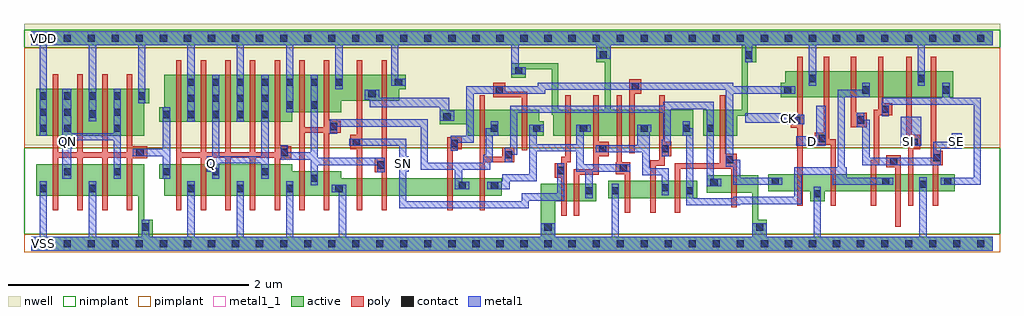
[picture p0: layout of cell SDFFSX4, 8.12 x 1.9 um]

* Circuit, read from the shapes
.subckt SDFFSX4 CK D Q QN SE SI SN VDD VSS
M1 QN n1 VSS VSS nfet w=0.26u l=0.045u m=4
M2 VSS n2 n1 VSS nfet w=0.26u l=0.045u
M3 Q n2 VSS VSS nfet w=0.26u l=0.045u m=4
M4 n2 n3 VSS VSS nfet w=0.205u l=0.045u m=2
M5 n4 SN VSS VSS nfet w=0.145u l=0.045u
M6 n5 n2 n4 VSS nfet w=0.145u l=0.045u
M7 n3 n6 n5 VSS nfet w=0.145u l=0.045u
M8 n7 n8 n3 VSS nfet w=0.145u l=0.045u
M9 n9 SN VSS VSS nfet w=0.145u l=0.045u
M10 n7 n10 n9 VSS nfet w=0.145u l=0.045u
M11 n11 n7 VSS VSS nfet w=0.145u l=0.045u
M12 n10 n8 n11 VSS nfet w=0.145u l=0.045u
M13 n12 n6 n10 VSS nfet w=0.145u l=0.045u
M14 VSS n6 n8 VSS nfet w=0.145u l=0.045u
M15 VSS CK n6 VSS nfet w=0.145u l=0.045u
M16 n13 D VSS VSS nfet w=0.145u l=0.045u
M17 n12 n14 n13 VSS nfet w=0.145u l=0.045u
M18 n15 SE n12 VSS nfet w=0.145u l=0.045u
M19 VSS SI n15 VSS nfet w=0.145u l=0.045u
M20 n14 SE VSS VSS nfet w=0.145u l=0.045u
M21 QN n1 VDD VDD pfet w=0.39u l=0.045u m=4
M22 VDD n2 n1 VDD pfet w=0.39u l=0.045u
M23 Q n2 VDD VDD pfet w=0.39u l=0.045u m=4
M24 n2 n3 VDD VDD pfet w=0.31u l=0.045u m=2
M25 n16 SN VDD VDD pfet w=0.215u l=0.045u
M26 VDD n2 n16 VDD pfet w=0.215u l=0.045u
M27 n3 n8 n16 VDD pfet w=0.215u l=0.045u
M28 n7 n6 n3 VDD pfet w=0.215u l=0.045u
M29 n7 SN VDD VDD pfet w=0.215u l=0.045u
M30 VDD n10 n7 VDD pfet w=0.215u l=0.045u
M31 n17 n7 VDD VDD pfet w=0.215u l=0.045u
M32 n10 n6 n17 VDD pfet w=0.215u l=0.045u
M33 n12 n8 n10 VDD pfet w=0.215u l=0.045u
M34 VDD n6 n8 VDD pfet w=0.215u l=0.045u
M35 VDD CK n6 VDD pfet w=0.215u l=0.045u
M36 n18 D VDD VDD pfet w=0.215u l=0.045u
M37 n12 SE n18 VDD pfet w=0.215u l=0.045u
M38 n19 n14 n12 VDD pfet w=0.215u l=0.045u
M39 VDD SI n19 VDD pfet w=0.215u l=0.045u
M40 n14 SE VDD VDD pfet w=0.215u l=0.045u
.ends

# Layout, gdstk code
import gdstk
lib = gdstk.Library(unit=1e-6, precision=5e-10)
def R(c, l, rs):  # rectangles x0, y0, x1, y1
    for r in rs: c.add(gdstk.rectangle(r[:2], r[2:], *l))
def A(c, l, x, y, w, h, nx, ny, dx, dy):  # array of equal rectangles
    R(c, l, [(x+i*dx, y+j*dy, x+i*dx+w, y+j*dy+h) for i in range(nx) for j in range(ny)])
def P(c, l, *ps):  # polygons
    for p in ps: c.add(gdstk.Polygon(p, *l))
active = (1, 0)
nwell = (2, 0)
poly = (3, 0)
nimplant = (4, 0)
pimplant = (5, 0)
contact = (6, 0)
metal1 = (7, 0)
metal1_1 = (7, 1)

sdffsx4 = lib.new_cell('SDFFSX4')
R(sdffsx4, active, [(4.8,0.38,5.54,0.525)])
P(sdffsx4, active, [(0,1.77),(8,1.77),(8,1.65),(6.03,1.65),(6.03,1.51),(5.96,1.51),(5.96,1.065),(5.875,1.065),(5.875,0.9),(5.59,0.9),(5.59,1.115),(5.91,1.115),(5.91,1.65),(4.82,1.65),(4.82,1.115),(5.51,1.115),(5.51,0.9),(4.345,0.9),(4.345,1.075),(4.33,1.075),(4.33,1.45),(4.115,1.45),(4.115,1.38),(3.995,1.38),(3.995,1.5),(4.385,1.5),(4.385,1.115),(4.77,1.115),(4.77,1.51),(4.7,1.51),(4.7,1.65),(0,1.65)],
  [(0.04,1.29),(0.98,1.29),(0.98,1.17),(0.94,1.17),(0.94,0.9),(0.04,0.9)],
  [(1.105,1.405),(3.115,1.405),(3.115,1.285),(3.06,1.285),(3.06,1.19),(2.58,1.19),(2.58,1.095),(2.17,1.095),(2.17,1.015),(1.065,1.015),(1.065,1.135),(1.105,1.135)],
  [(3.4,1.115),(4.225,1.115),(4.225,1.02),(4.265,1.02),(4.265,0.9),(3.63,0.9),(3.63,0.995),(3.4,0.995)],
  [(6.275,1.435),(7.67,1.435),(7.67,1.22),(6.235,1.22),(6.235,1.34),(6.275,1.34)],
  [(1.065,0.66),(2.17,0.66),(2.17,0.605),(2.58,0.605),(2.58,0.545),(3.915,0.545),(3.915,0.4),(1.105,0.4),(1.105,0.54),(1.065,0.54)],
  [(0.04,0.66),(0.94,0.66),(0.94,0.2),(1.01,0.2),(1.01,0.06),(4.24,0.06),(4.24,0.5),(4.7,0.5),(4.7,0.355),(4.36,0.355),(4.36,0.06),(6,0.06),(6,0.425),(5.62,0.425),(5.62,0.57),(6.05,0.57),(6.05,0.2),(6.12,0.2),(6.12,0.06),(8,0.06),(8,-0.06),(0,-0.06),(0,0.06),(0.89,0.06),(0.89,0.4),(0.04,0.4)],
  [(6.13,0.58),(7.685,0.58),(7.685,0.435),(6.6,0.435),(6.6,0.355),(6.48,0.355),(6.48,0.435),(6.13,0.435)])
R(sdffsx4, nwell, [(-0.06,0.82,8.06,1.83)])
P(sdffsx4, poly, [(0.18,1.41),(0.225,1.41),(0.225,0.76),(0.385,0.76),(0.385,1.41),(0.43,1.41),(0.43,0.76),(0.59,0.76),(0.59,1.41),(0.635,1.41),(0.635,0.76),(0.795,0.76),(0.795,1.41),(0.84,1.41),(0.84,0.81),(0.965,0.81),(0.965,0.71),(0.84,0.71),(0.84,0.28),(0.795,0.28),(0.795,0.715),(0.635,0.715),(0.635,0.28),(0.59,0.28),(0.59,0.715),(0.43,0.715),(0.43,0.28),(0.385,0.28),(0.385,0.715),(0.225,0.715),(0.225,0.28),(0.18,0.28)],
  [(1.205,1.525),(1.25,1.525),(1.25,0.76),(1.41,0.76),(1.41,1.525),(1.455,1.525),(1.455,0.76),(1.615,0.76),(1.615,1.525),(1.66,1.525),(1.66,0.76),(1.82,0.76),(1.82,1.525),(1.865,1.525),(1.865,0.76),(2.025,0.76),(2.025,1.525),(2.07,1.525),(2.07,0.81),(2.165,0.81),(2.165,0.71),(2.07,0.71),(2.07,0.28),(2.025,0.28),(2.025,0.715),(1.865,0.715),(1.865,0.28),(1.82,0.28),(1.82,0.715),(1.66,0.715),(1.66,0.28),(1.615,0.28),(1.615,0.715),(1.455,0.715),(1.455,0.28),(1.41,0.28),(1.41,0.715),(1.25,0.715),(1.25,0.28),(1.205,0.28)],
  [(2.23,1.525),(2.275,1.525),(2.275,0.97),(2.435,0.97),(2.435,1.525),(2.48,1.525),(2.48,1.025),(2.575,1.025),(2.575,0.925),(2.48,0.925),(2.48,0.28),(2.435,0.28),(2.435,0.925),(2.275,0.925),(2.275,0.28),(2.23,0.28)],
  [(2.71,1.525),(2.755,1.525),(2.755,0.28),(2.71,0.28),(2.71,0.785),(2.655,0.785),(2.655,0.905),(2.71,0.905)],
  [(2.915,1.525),(2.96,1.525),(2.96,0.28),(2.915,0.28),(2.915,0.595),(2.86,0.595),(2.86,0.715),(2.915,0.715)],
  [(3.845,1.34),(3.945,1.34),(3.945,1.265),(4.125,1.265),(4.125,0.78),(4.08,0.78),(4.08,1.22),(3.845,1.22)],
  [(3.73,1.235),(3.775,1.235),(3.775,0.725),(3.92,0.725),(3.92,0.8),(4.02,0.8),(4.02,0.68),(3.775,0.68),(3.775,0.28),(3.73,0.28)],
  [(4.445,1.235),(4.49,1.235),(4.49,0.68),(4.455,0.68),(4.455,0.235),(4.41,0.235),(4.41,0.55),(4.355,0.55),(4.355,0.67),(4.41,0.67),(4.41,0.725),(4.445,0.725)],
  [(4.675,1.235),(4.72,1.235),(4.72,0.85),(4.805,0.85),(4.805,0.73),(4.72,0.73),(4.72,0.575),(4.56,0.575),(4.56,0.235),(4.515,0.235),(4.515,0.62),(4.675,0.62)],
  [(4.975,1.37),(5.075,1.37),(5.075,1.25),(5.02,1.25),(5.02,0.755),(4.975,0.755)],
  [(5.73,1.235),(5.775,1.235),(5.775,0.75),(5.87,0.75),(5.87,0.305),(5.825,0.305),(5.825,0.625),(5.4,0.625),(5.4,0.26),(5.355,0.26),(5.355,0.67),(5.73,0.67)],
  [(6.375,1.555),(6.42,1.555),(6.42,0.315),(6.375,0.315),(6.375,0.965),(6.32,0.965),(6.32,1.085),(6.375,1.085)],
  [(6.595,1.555),(6.64,1.555),(6.64,0.87),(6.695,0.87),(6.695,0.315),(6.65,0.315),(6.65,0.825),(6.52,0.825),(6.52,0.925),(6.595,0.925)],
  [(6.82,1.555),(6.865,1.555),(6.865,1.09),(6.95,1.09),(6.95,0.97),(6.82,0.97)],
  [(7.045,1.555),(7.09,1.555),(7.09,1.17),(7.165,1.17),(7.165,1.07),(7.055,1.07),(7.055,0.655),(7.03,0.655),(7.03,0.315),(6.985,0.315),(6.985,0.7),(7.01,0.7),(7.01,1.115),(7.045,1.115)],
  [(7.28,1.555),(7.325,1.555),(7.325,0.905),(7.395,0.905),(7.395,0.785),(7.34,0.785),(7.34,0.315),(7.295,0.315),(7.295,0.86),(7.28,0.86)],
  [(7.485,1.555),(7.53,1.555),(7.53,0.775),(7.585,0.775),(7.585,0.655),(7.545,0.655),(7.545,0.315),(7.5,0.315),(7.5,0.655),(7.485,0.655)],
  [(4.87,1.235),(4.915,1.235),(4.915,0.68),(4.985,0.68),(4.985,0.26),(4.94,0.26),(4.94,0.58),(4.865,0.58),(4.865,0.68),(4.87,0.68)],
  [(5.225,1.235),(5.27,1.235),(5.27,0.85),(5.325,0.85),(5.325,0.73),(5.27,0.73),(5.27,0.65),(5.195,0.65),(5.195,0.26),(5.15,0.26),(5.15,0.695),(5.225,0.695)],
  [(3.46,0.885),(3.58,0.885),(3.58,0.785),(3.505,0.785),(3.505,0.28),(3.46,0.28)],
  [(7.115,0.735),(7.235,0.735),(7.235,0.14),(7.19,0.14),(7.19,0.635),(7.115,0.635)])
R(sdffsx4, nimplant, [(-0.06,0.08,8.06,0.8), (-0.06,1.63,8.06,1.78)])
R(sdffsx4, pimplant, [(-0.06,-0.07,8.06,0.08), (-0.06,0.8,8.06,1.63)])
A(sdffsx4, contact, 0.07, -0.03, 0.06, 0.06, 40, 2, 0.2, 1.71)
A(sdffsx4, contact, 1.3, 0.43, 0.06, 0.06, 4, 1, 0.41, 0)
A(sdffsx4, contact, 0.275, 0.57, 0.06, 0.06, 5, 1, 0.41, 0)
A(sdffsx4, contact, 1.095, 1.045, 0.06, 0.06, 5, 1, 0.205, 0)
A(sdffsx4, contact, 1.3, 1.18, 0.06, 0.06, 4, 1, 0.205, 0)
A(sdffsx4, contact, 0.07, 1.2, 0.06, 0.06, 5, 1, 0.205, 0)
A(sdffsx4, contact, 1.3, 1.315, 0.06, 0.06, 7, 1, 0.205, 0)
R(sdffsx4, contact, [(0.92,0.11,0.98,0.17), (4.27,0.11,4.33,0.17), (6.03,0.11,6.09,0.17), (6.51,0.385,6.57,0.445), (4.61,0.41,4.67,0.47), (4.83,0.41,4.89,0.47), (5.45,0.41,5.51,0.47), (0.07,0.43,0.13,0.49), (0.48,0.43,0.54,0.49), (5.245,0.435,5.305,0.495), (3.555,0.455,3.615,0.515), (3.825,0.455,3.885,0.515), (7.39,0.465,7.45,0.525), (5.65,0.48,5.71,0.54), (6.16,0.49,6.22,0.55), (7.08,0.49,7.14,0.55), (7.595,0.49,7.655,0.55), (2.325,0.515,2.385,0.575), (4.375,0.58,4.435,0.64), (4.895,0.6,4.955,0.66), (2.88,0.625,2.94,0.685), (7.145,0.655,7.205,0.715), (5.78,0.67,5.84,0.73), (7.505,0.685,7.565,0.745), (3.94,0.71,4,0.77), (0.875,0.73,0.935,0.79), (2.075,0.73,2.135,0.79), (4.725,0.76,4.785,0.82), (5.245,0.76,5.305,0.82), (3.49,0.805,3.55,0.865), (2.675,0.815,2.735,0.875), (7.315,0.815,7.375,0.875), (6.55,0.845,6.61,0.905), (0.07,0.93,0.13,0.99), (0.275,0.93,0.335,0.99), (0.685,0.93,0.745,0.99), (3.825,0.93,3.885,0.99), (4.175,0.93,4.235,0.99), (4.565,0.93,4.625,0.99), (5.07,0.93,5.13,0.99), (5.42,0.93,5.48,0.99), (5.62,0.93,5.68,0.99), (2.485,0.945,2.545,1.005), (6.34,0.995,6.4,1.055), (6.87,1,6.93,1.06), (3.43,1.025,3.49,1.085), (0.48,1.05,0.54,1.11), (0.07,1.065,0.13,1.125), (0.275,1.065,0.335,1.125), (0.685,1.065,0.745,1.125), (7.075,1.09,7.135,1.15), (2.12,1.125,2.18,1.185), (2.325,1.125,2.385,1.185), (2.805,1.22,2.865,1.28), (3.865,1.25,3.925,1.31), (6.265,1.25,6.325,1.31), (6.915,1.25,6.975,1.31), (7.58,1.25,7.64,1.31), (4.995,1.28,5.055,1.34), (3.025,1.315,3.085,1.375), (6.47,1.345,6.53,1.405), (7.375,1.345,7.435,1.405), (4.025,1.41,4.085,1.47), (4.73,1.54,4.79,1.6), (5.94,1.54,6,1.6)])
R(sdffsx4, metal1, [(7.235,0.815,7.405,1.055)])
P(sdffsx4, metal1, [(0,1.77),(8,1.77),(8,1.65),(7.435,1.65),(7.435,1.315),(7.375,1.315),(7.375,1.65),(6.53,1.65),(6.53,1.315),(6.47,1.315),(6.47,1.65),(6,1.65),(6,1.51),(5.94,1.51),(5.94,1.65),(4.82,1.65),(4.82,1.54),(4.7,1.54),(4.7,1.65),(4.055,1.65),(4.055,1.47),(4.115,1.47),(4.115,1.41),(3.995,1.41),(3.995,1.65),(3.055,1.65),(3.055,1.375),(3.115,1.375),(3.115,1.315),(2.995,1.315),(2.995,1.65),(2.59,1.65),(2.59,1.285),(2.53,1.285),(2.53,1.65),(2.18,1.65),(2.18,1.095),(2.12,1.095),(2.12,1.65),(1.77,1.65),(1.77,1.015),(1.71,1.015),(1.71,1.65),(1.36,1.65),(1.36,1.015),(1.3,1.015),(1.3,1.65),(0.95,1.65),(0.95,1.17),(0.89,1.17),(0.89,1.65),(0.54,1.65),(0.54,1.02),(0.48,1.02),(0.48,1.65),(0.13,1.65),(0.13,0.9),(0.07,0.9),(0.07,1.65),(0,1.65)],
  [(0.26,1.29),(0.335,1.29),(0.335,0.92),(0.685,0.92),(0.685,1.29),(0.745,1.29),(0.745,0.54),(0.685,0.54),(0.685,0.86),(0.34,0.86),(0.34,0.79),(0.335,0.79),(0.335,0.54),(0.26,0.54)],
  [(1.095,1.135),(1.155,1.135),(1.155,0.54),(1.095,0.54),(1.095,0.73),(0.845,0.73),(0.845,0.79),(1.095,0.79)],
  [(1.505,1.405),(1.565,1.405),(1.565,0.73),(1.915,0.73),(1.915,1.405),(1.975,1.405),(1.975,0.54),(1.915,0.54),(1.915,0.67),(1.565,0.67),(1.565,0.54),(1.505,0.54),(1.505,0.6),(1.46,0.6),(1.46,0.73),(1.505,0.73)],
  [(0.07,0.52),(0.13,0.52),(0.13,0.06),(0.48,0.06),(0.48,0.52),(0.54,0.52),(0.54,0.06),(0.92,0.06),(0.92,0.2),(0.98,0.2),(0.98,0.06),(1.3,0.06),(1.3,0.52),(1.36,0.52),(1.36,0.06),(1.71,0.06),(1.71,0.52),(1.77,0.52),(1.77,0.06),(2.12,0.06),(2.12,0.52),(2.18,0.52),(2.18,0.06),(2.56,0.06),(2.56,0.43),(2.5,0.43),(2.5,0.49),(2.62,0.49),(2.62,0.06),(4.24,0.06),(4.24,0.17),(4.36,0.17),(4.36,0.06),(4.83,0.06),(4.83,0.5),(4.89,0.5),(4.89,0.06),(6,0.06),(6,0.17),(6.12,0.17),(6.12,0.06),(6.51,0.06),(6.51,0.475),(6.57,0.475),(6.57,0.06),(7.39,0.06),(7.39,0.555),(7.45,0.555),(7.45,0.06),(8,0.06),(8,-0.06),(0,-0.06),(0,0.06),(0.07,0.06)],
  [(2.075,0.82),(2.135,0.82),(2.135,0.76),(2.325,0.76),(2.325,1.405),(2.385,1.405),(2.385,0.715),(2.94,0.715),(2.94,0.595),(2.88,0.595),(2.88,0.655),(2.385,0.655),(2.385,0.485),(2.325,0.485),(2.325,0.7),(2.075,0.7)],
  [(4.215,1.34),(5.84,1.34),(5.84,1.31),(6.355,1.31),(6.355,1.25),(5.84,1.25),(5.84,0.7),(5.9,0.7),(5.9,0.55),(6.25,0.55),(6.25,0.49),(5.84,0.49),(5.84,0.64),(5.78,0.64),(5.78,1.28),(4.275,1.28),(4.275,1.25),(3.68,1.25),(3.68,0.84),(3.55,0.84),(3.55,0.775),(3.49,0.775),(3.49,0.9),(3.62,0.9),(3.62,1.31),(4.215,1.31)],
  [(2.775,1.28),(2.895,1.28),(2.895,1.215),(3.48,1.215),(3.48,1.105),(3.52,1.105),(3.52,1.025),(3.4,1.025),(3.4,1.135),(2.815,1.135),(2.815,1.2),(2.775,1.2)],
  [(5.26,1.18),(5.68,1.18),(5.68,0.54),(5.74,0.54),(5.74,0.48),(5.62,0.48),(5.62,1.12),(5.32,1.12),(5.32,0.82),(5.305,0.82),(5.305,0.73),(5.245,0.73),(5.245,0.865),(5.26,0.865),(5.26,1.09),(4.045,1.09),(4.045,0.74),(4,0.74),(4,0.68),(3.94,0.68),(3.94,0.8),(3.985,0.8),(3.985,1.15),(5.26,1.15)],
  [(2.485,1.035),(3.3,1.035),(3.3,0.675),(3.76,0.675),(3.76,0.74),(3.78,0.74),(3.78,0.96),(3.825,0.96),(3.825,1.02),(3.885,1.02),(3.885,0.9),(3.84,0.9),(3.84,0.68),(3.82,0.68),(3.82,0.615),(3.585,0.615),(3.585,0.515),(3.645,0.515),(3.645,0.455),(3.525,0.455),(3.525,0.615),(3.24,0.615),(3.24,0.975),(2.545,0.975),(2.545,0.915),(2.485,0.915)],
  [(2.645,0.875),(3.12,0.875),(3.12,0.73),(3.14,0.73),(3.14,0.6),(3.12,0.6),(3.12,0.355),(4.08,0.355),(4.08,0.42),(4.375,0.42),(4.375,0.67),(4.435,0.67),(4.435,0.36),(4.14,0.36),(4.14,0.295),(3.06,0.295),(3.06,0.815),(2.645,0.815)],
  [(4.145,0.99),(4.265,0.99),(4.265,0.93),(4.205,0.93),(4.205,0.83),(4.535,0.83),(4.535,0.99),(4.655,0.99),(4.655,0.93),(4.595,0.93),(4.595,0.66),(4.985,0.66),(4.985,0.6),(4.67,0.6),(4.67,0.38),(4.61,0.38),(4.61,0.6),(4.535,0.6),(4.535,0.77),(4.205,0.77),(4.205,0.52),(3.98,0.52),(3.98,0.455),(3.795,0.455),(3.795,0.515),(3.92,0.515),(3.92,0.58),(4.145,0.58)],
  [(5.04,0.99),(5.16,0.99),(5.16,0.93),(5.145,0.93),(5.145,0.63),(5.305,0.63),(5.305,0.405),(5.245,0.405),(5.245,0.57),(5.085,0.57),(5.085,0.76),(4.695,0.76),(4.695,0.82),(5.04,0.82)],
  [(6.915,1.34),(6.975,1.34),(6.975,1.22),(6.77,1.22),(6.77,0.635),(6.785,0.635),(6.785,0.55),(7.17,0.55),(7.17,0.49),(6.67,0.49),(6.67,0.575),(6.41,0.575),(6.41,0.33),(5.9,0.33),(5.9,0.32),(5.45,0.32),(5.45,0.9),(5.42,0.9),(5.42,1.02),(5.48,1.02),(5.48,0.96),(5.51,0.96),(5.51,0.38),(5.84,0.38),(5.84,0.39),(6.35,0.39),(6.35,0.635),(6.71,0.635),(6.71,1.28),(6.915,1.28)],
  [(7.58,1.34),(7.64,1.34),(7.64,1.215),(7.9,1.215),(7.9,0.49),(7.565,0.49),(7.565,0.55),(7.84,0.55),(7.84,1.155),(7.135,1.155),(7.135,1.06),(7.075,1.06),(7.075,1.215),(7.58,1.215)],
  [(5.94,1.085),(6.365,1.085),(6.365,1.075),(6.43,1.075),(6.43,0.995),(6.285,0.995),(6.285,1.005),(5.94,1.005)],
  [(6.53,1.15),(6.61,1.15),(6.61,0.815),(6.365,0.815),(6.365,0.895),(6.53,0.895)],
  [(6.87,1.09),(6.93,1.09),(6.93,1.03),(6.975,1.03),(6.975,0.715),(7.505,0.715),(7.505,0.85),(7.66,0.85),(7.66,0.92),(7.74,0.92),(7.74,0.79),(7.565,0.79),(7.565,0.655),(6.915,0.655),(6.915,0.97),(6.87,0.97)])
R(sdffsx4, metal1_1, [(0.06,-0.04,0.14,0.04), (1.46,0.625,1.54,0.705), (3.06,0.625,3.14,0.705), (0.26,0.815,0.34,0.895), (6.46,0.815,6.54,0.895), (7.26,0.815,7.34,0.895), (7.66,0.815,7.74,0.895), (6.26,1.005,6.34,1.085), (0.06,1.67,0.14,1.75)])
sdffsx4.add(gdstk.Label('SE', (7.7,0.855), layer=7, texttype=1))
sdffsx4.add(gdstk.Label('SI', (7.3,0.855), layer=7, texttype=1))
sdffsx4.add(gdstk.Label('D', (6.5,0.855), layer=7, texttype=1))
sdffsx4.add(gdstk.Label('CK', (6.3,1.045), layer=7, texttype=1))
sdffsx4.add(gdstk.Label('SN', (3.1,0.665), layer=7, texttype=1))
sdffsx4.add(gdstk.Label('Q', (1.5,0.665), layer=7, texttype=1))
sdffsx4.add(gdstk.Label('QN', (0.3,0.855), layer=7, texttype=1))
sdffsx4.add(gdstk.Label('VDD', (0.1,1.71), layer=7, texttype=1))
sdffsx4.add(gdstk.Label('VSS', (0.1,0), layer=7, texttype=1))
sdffsx4.add(gdstk.Label('SDFFSX4', (0,0), layer=63, texttype=0))

lib.write_gds('SDFFSX4.gds')
